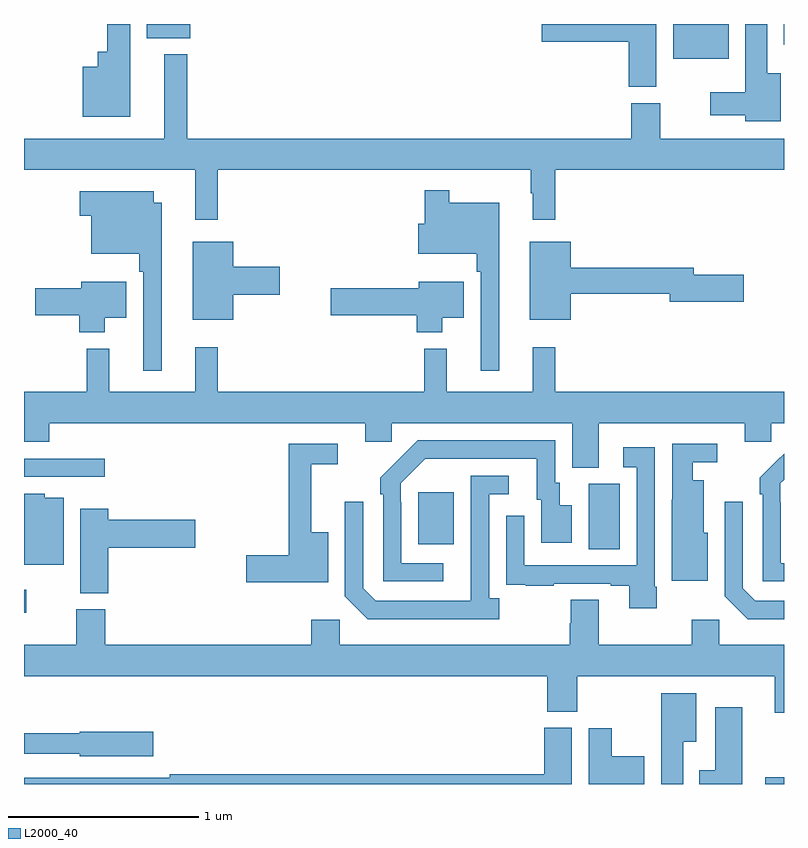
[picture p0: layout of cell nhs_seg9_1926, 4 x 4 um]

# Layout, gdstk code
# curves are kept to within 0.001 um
import gdstk
lib = gdstk.Library(unit=1e-6, precision=1e-09)
def R(c, l, rs):  # rectangles x0, y0, x1, y1
    for r in rs: c.add(gdstk.rectangle(r[:2], r[2:], *l))
def P(c, l, *ps):  # polygons
    for p in ps: c.add(gdstk.Polygon(p, *l))
L2000_40 = (2000, 40)

nhs_seg9_1926 = lib.new_cell('nhs_seg9_1926')
R(nhs_seg9_1926, L2000_40, [(222.9,1214.5,223,1214.535), (219,1215.401,219.013,1215.523), (221.972,1215.736,222.136,1216.08), (221.075,1215.761,221.263,1216.036), (219,1216.116,219.424,1216.212), (222.416,1218.317,222.709,1218.5), (222.998,1218.392,223,1218.5), (219.647,1218.425,219.874,1218.5)])
P(nhs_seg9_1926, L2000_40, [(219.559,1218.5),(219.438,1218.5),(219.438,1218.355),(219.389,1218.355),(219.389,1218.274),(219.308,1218.274),(219.308,1218.011),(219.559,1218.011)],
  [(222.328,1218.5),(221.724,1218.5),(221.724,1218.407),(222.182,1218.407),(222.182,1218.169),(222.328,1218.169)],
  [(222.982,1218.241),(222.913,1218.241),(222.913,1218.5),(222.797,1218.5),(222.797,1218.142),(222.612,1218.142),(222.612,1218.02),(222.797,1218.02),(222.797,1217.987),(222.982,1217.987)],
  [(220.019,1217.732),(221.667,1217.732),(221.667,1217.609),(221.678,1217.609),(221.678,1217.469),(221.795,1217.469),(221.795,1217.732),(223,1217.732),(223,1217.896),(222.349,1217.896),(222.349,1218.084),(222.197,1218.084),(222.197,1217.896),(219.859,1217.896),(219.859,1218.34),(219.737,1218.34),(219.737,1217.896),(219,1217.896),(219,1217.732),(219.901,1217.732),(219.901,1217.469),(220.019,1217.469)],
  [(221.5,1217.56),(221.239,1217.56),(221.239,1217.626),(221.11,1217.626),(221.11,1217.449),(221.076,1217.449),(221.076,1217.291),(221.383,1217.291),(221.383,1217.195),(221.403,1217.195),(221.403,1216.674),(221.5,1216.674)],
  [(219.724,1217.56),(219.682,1217.56),(219.682,1217.62),(219.294,1217.62),(219.294,1217.491),(219.353,1217.491),(219.353,1217.291),(219.607,1217.291),(219.607,1217.195),(219.627,1217.195),(219.627,1216.674),(219.724,1216.674)],
  [(220.102,1217.075),(220.345,1217.075),(220.345,1217.222),(220.102,1217.222),(220.102,1217.353),(219.887,1217.353),(219.887,1216.943),(220.102,1216.943)],
  [(221.878,1217.08),(222.398,1217.08),(222.398,1217.038),(222.787,1217.038),(222.787,1217.18),(222.526,1217.18),(222.526,1217.216),(221.878,1217.216),(221.878,1217.353),(221.663,1217.353),(221.663,1216.943),(221.878,1216.943)],
  [(219.424,1216.955),(219.538,1216.955),(219.538,1217.143),(219.302,1217.143),(219.302,1217.108),(219.06,1217.108),(219.06,1216.966),(219.29,1216.966),(219.29,1216.877),(219.424,1216.877)],
  [(221.2,1216.955),(221.314,1216.955),(221.314,1217.143),(221.078,1217.143),(221.078,1217.108),(220.614,1217.108),(220.614,1216.966),(221.066,1216.966),(221.066,1216.877),(221.2,1216.877)],
  [(222.025,1216.4),(222.794,1216.4),(222.794,1216.302),(222.933,1216.302),(222.933,1216.4),(223,1216.4),(223,1216.564),(221.795,1216.564),(221.795,1216.798),(221.678,1216.798),(221.678,1216.564),(221.225,1216.564),(221.225,1216.792),(221.107,1216.792),(221.107,1216.564),(220.019,1216.564),(220.019,1216.798),(219.902,1216.798),(219.902,1216.564),(219.449,1216.564),(219.449,1216.792),(219.331,1216.792),(219.331,1216.564),(219,1216.564),(219,1216.301),(219.134,1216.301),(219.134,1216.4),(220.796,1216.4),(220.796,1216.302),(220.935,1216.302),(220.935,1216.4),(221.885,1216.4),(221.885,1216.165),(222.025,1216.165)],
  [(221.206,1215.663),(220.986,1215.663),(220.986,1215.983),(220.983,1215.983),(220.983,1216.083),(221.112,1216.212),(221.699,1216.212),(221.699,1215.996),(221.723,1215.996),(221.723,1215.771),(221.884,1215.771),(221.884,1215.967),(221.821,1215.967),(221.821,1216.086),(221.796,1216.086),(221.796,1216.308),(221.072,1216.308),(220.875,1216.113),(220.875,1216.025),(220.89,1216.025),(220.89,1215.567),(221.206,1215.567)],
  [(220.6,1215.826),(220.511,1215.826),(220.511,1216.182),(220.651,1216.182),(220.651,1216.29),(220.393,1216.29),(220.393,1215.704),(220.17,1215.704),(220.17,1215.562),(220.6,1215.562)],
  [(222.598,1215.822),(222.577,1215.822),(222.577,1216.099),(222.52,1216.099),(222.52,1216.194),(222.649,1216.194),(222.649,1216.29),(222.411,1216.29),(222.411,1215.995),(222.41,1215.995),(222.41,1215.569),(222.598,1215.569)],
  [(222.33,1215.538),(222.321,1215.538),(222.321,1216.273),(222.153,1216.273),(222.153,1216.167),(222.225,1216.167),(222.225,1215.651),(221.634,1215.651),(221.634,1215.913),(221.538,1215.913),(221.538,1215.658),(221.539,1215.658),(221.539,1215.549),(221.641,1215.549),(221.641,1215.543),(221.789,1215.543),(221.789,1215.555),(222.089,1215.555),(222.089,1215.543),(222.185,1215.543),(222.185,1215.426),(222.33,1215.426)],
  [(223,1215.663),(222.984,1215.663),(222.984,1215.983),(222.981,1215.983),(222.981,1216.083),(223,1216.102),(223,1216.238),(222.979,1216.217),(222.978,1216.218),(222.873,1216.113),(222.873,1216.025),(222.888,1216.025),(222.888,1215.567),(223,1215.567)],
  [(221.5,1215.478),(221.448,1215.478),(221.448,1216.026),(221.551,1216.026),(221.551,1216.122),(221.352,1216.122),(221.351,1215.465),(220.851,1215.465),(220.785,1215.531),(220.785,1215.985),(220.689,1215.985),(220.689,1215.489),(220.81,1215.368),(221.5,1215.368)],
  [(219.208,1216.006),(219.108,1216.006),(219.108,1216.027),(219,1216.027),(219,1215.653),(219.208,1215.653)],
  [(223,1215.465),(222.849,1215.465),(222.783,1215.531),(222.783,1215.985),(222.687,1215.985),(222.687,1215.489),(222.808,1215.368),(223,1215.368)],
  [(219.443,1215.743),(219.901,1215.743),(219.901,1215.89),(219.443,1215.89),(219.443,1215.949),(219.296,1215.949),(219.296,1215.505),(219.443,1215.505)],
  [(223,1215.232),(222.66,1215.232),(222.66,1215.364),(222.514,1215.364),(222.514,1215.232),(222.025,1215.232),(222.025,1215.47),(221.878,1215.47),(221.878,1215.345),(221.873,1215.345),(221.873,1215.232),(220.662,1215.232),(220.662,1215.364),(220.511,1215.364),(220.511,1215.232),(219.428,1215.232),(219.428,1215.42),(219.275,1215.42),(219.275,1215.232),(219,1215.232),(219,1215.068),(221.753,1215.068),(221.753,1214.881),(221.913,1214.881),(221.913,1215.068),(222.95,1215.068),(222.95,1214.874),(223,1214.874)],
  [(222.469,1214.723),(222.538,1214.723),(222.538,1214.977),(222.353,1214.977),(222.353,1214.5),(222.469,1214.5)],
  [(222.781,1214.905),(222.638,1214.905),(222.638,1214.572),(222.554,1214.572),(222.554,1214.5),(222.781,1214.5)],
  [(221.884,1214.796),(221.738,1214.796),(221.738,1214.552),(219.766,1214.552),(219.766,1214.532),(219,1214.532),(219,1214.5),(221.884,1214.5)],
  [(222.265,1214.647),(222.094,1214.647),(222.094,1214.794),(221.972,1214.794),(221.972,1214.5),(222.265,1214.5)],
  [(219.679,1214.775),(219.294,1214.775),(219.294,1214.767),(219,1214.767),(219,1214.658),(219.294,1214.658),(219.294,1214.645),(219.679,1214.645)])

lib.write_gds('nhs_seg9_1926.gds')
